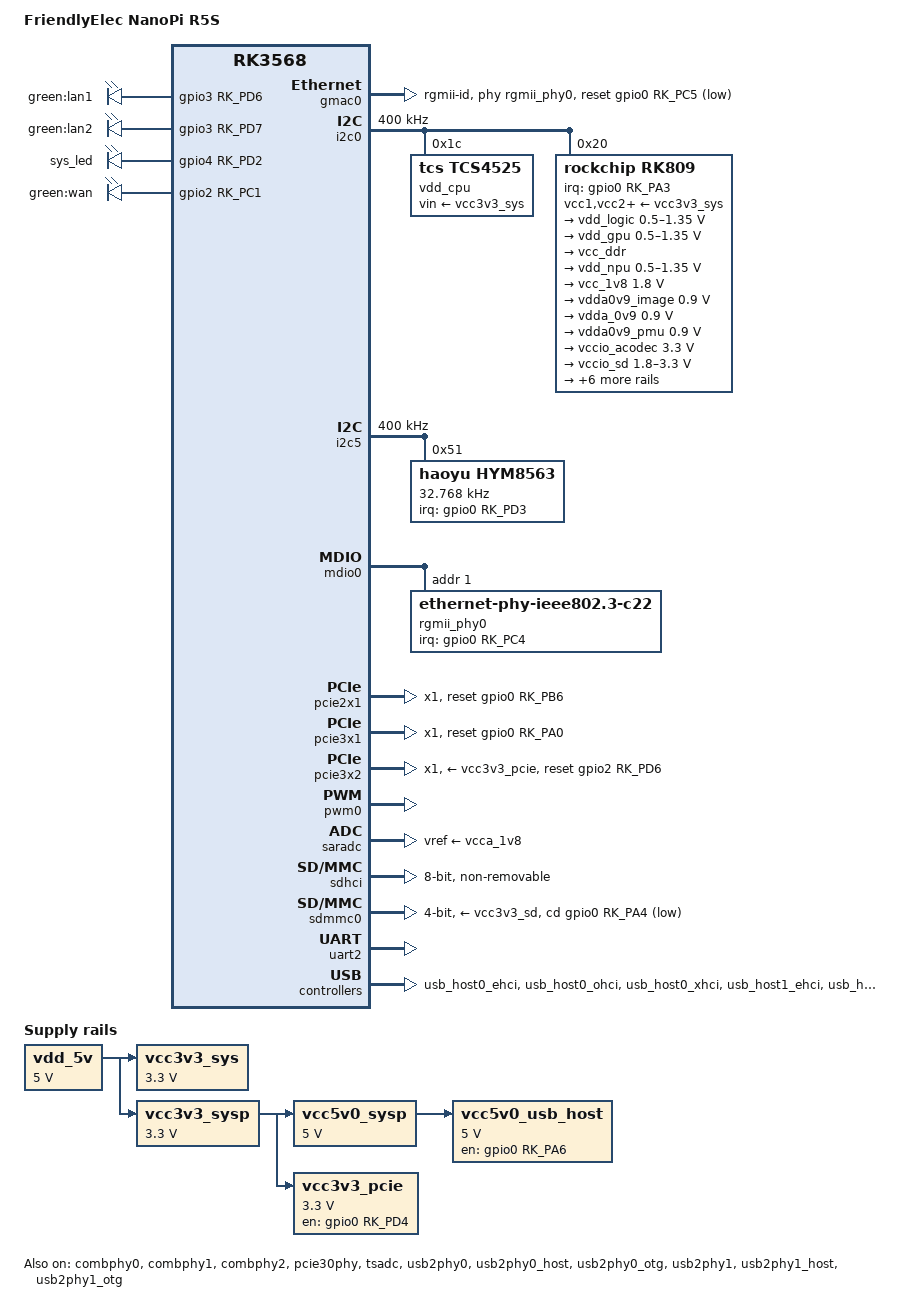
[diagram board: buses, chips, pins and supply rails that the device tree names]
// SPDX-License-Identifier: (GPL-2.0+ OR MIT)
/*
 * Copyright (c) 2021 FriendlyElec Computer Tech. Co., Ltd.
 * (http://www.friendlyarm.com)
 *
 * Copyright (c) 2022 Marty Jones <mj8263788@gmail.com>
 * Copyright (c) 2022 Tianling Shen <cnsztl@gmail.com>
 */

/dts-v1/;

#include <dt-bindings/gpio/gpio.h>
#include <dt-bindings/leds/common.h>
#include <dt-bindings/pinctrl/rockchip.h>
#include "rk3568.dtsi"

/ {
	model = "FriendlyElec NanoPi R5S";
	compatible = "friendlyarm,nanopi-r5s","rockchip,rk3568";

	aliases {
		ethernet0 = &gmac0;
		mmc0 = &sdmmc0;
		mmc1 = &sdhci;

		led-boot = &sys_led;
		led-failsafe = &sys_led;
		led-running = &sys_led;
		led-upgrade = &sys_led;
	};

	chosen: chosen {
		stdout-path = "serial2:1500000n8";
	};

	leds {
		compatible = "gpio-leds";
		pinctrl-0 = <&lan1_led_pin>, <&lan2_led_pin>,
			    <&sys_led_pin>, <&wan_led_pin>;
		pinctrl-names = "default";

		lan1_led: led-0 {
			gpios = <&gpio3 RK_PD6 GPIO_ACTIVE_HIGH>;
			label = "green:lan1";
		};

		lan2_led: led-1 {
			gpios = <&gpio3 RK_PD7 GPIO_ACTIVE_HIGH>;
			label = "green:lan2";
		};

		sys_led: led-2 {
			gpios = <&gpio4 RK_PD2 GPIO_ACTIVE_HIGH>;
			label = "sys_led";
		};

		wan_led: led-3 {
			gpios = <&gpio2 RK_PC1 GPIO_ACTIVE_HIGH>;
			label = "green:wan";
		};
	};

	vdd_5v: vdd-5v {
		compatible = "regulator-fixed";
		regulator-name = "vdd_5v";
		regulator-always-on;
		regulator-boot-on;
		regulator-min-microvolt = <5000000>;
		regulator-max-microvolt = <5000000>;
	};

	vcc3v3_sys: vcc3v3-sys {
		compatible = "regulator-fixed";
		regulator-name = "vcc3v3_sys";
		regulator-always-on;
		regulator-boot-on;
		regulator-min-microvolt = <3300000>;
		regulator-max-microvolt = <3300000>;
		vin-supply = <&vdd_5v>;
	};

	vcc3v3_sysp: vcc3v3-sysp {
		compatible = "regulator-fixed";
		regulator-name = "vcc3v3_sysp";
		regulator-always-on;
		regulator-boot-on;
		regulator-min-microvolt = <3300000>;
		regulator-max-microvolt = <3300000>;
		vin-supply = <&vdd_5v>;
	};

	vcc5v0_sysp: vcc5v0-sysp {
		compatible = "regulator-fixed";
		regulator-name = "vcc5v0_sysp";
		regulator-always-on;
		regulator-boot-on;
		regulator-min-microvolt = <5000000>;
		regulator-max-microvolt = <5000000>;
		vin-supply = <&vcc3v3_sysp>;
	};

	vcc5v0_usb_host: vcc5v0-usb-host {
		compatible = "regulator-fixed";
		enable-active-high;
		gpio = <&gpio0 RK_PA6 GPIO_ACTIVE_HIGH>;
		pinctrl-names = "default";
		pinctrl-0 = <&vcc5v0_usb_host_en>;
		regulator-name = "vcc5v0_usb_host";
		regulator-min-microvolt = <5000000>;
		regulator-max-microvolt = <5000000>;
		vin-supply = <&vcc5v0_sysp>;
	};

	vcc3v3_pcie: vcc3v3-pcie {
		compatible = "regulator-fixed";
		enable-active-high;
		gpios = <&gpio0 RK_PD4 GPIO_ACTIVE_HIGH>;
		regulator-name = "vcc3v3_pcie";
		regulator-min-microvolt = <3300000>;
		regulator-max-microvolt = <3300000>;
		startup-delay-us = <5000>;
		vin-supply = <&vcc3v3_sysp>;
	};
};

&combphy0 {
	status = "okay";
};

&combphy1 {
	status = "okay";
};

&combphy2 {
	status = "okay";
};

&cpu0 {
	cpu-supply = <&vdd_cpu>;
};

&cpu1 {
	cpu-supply = <&vdd_cpu>;
};

&cpu2 {
	cpu-supply = <&vdd_cpu>;
};

&cpu3 {
	cpu-supply = <&vdd_cpu>;
};

&gmac0 {
	clock_in_out = "output";
	assigned-clocks = <&cru SCLK_GMAC0_RX_TX>, <&cru SCLK_GMAC0>;
	assigned-clock-parents = <&cru SCLK_GMAC0_RGMII_SPEED>, <&cru CLK_MAC0_2TOP>;
	assigned-clock-rates = <0>, <125000000>;
	phy-mode = "rgmii-id";
	pinctrl-names = "default";
	pinctrl-0 = <&gmac0_miim
		     &gmac0_tx_bus2
		     &gmac0_rx_bus2
		     &gmac0_rgmii_clk
		     &gmac0_rgmii_bus>;
	snps,reset-gpio = <&gpio0 RK_PC5 GPIO_ACTIVE_LOW>;
	snps,reset-active-low;
	/* Reset time is 15ms, 50ms for rtl8211f */
	snps,reset-delays-us = <0 15000 50000>;
	tx_delay = <0x3c>;
	rx_delay = <0x2f>;
	phy-handle = <&rgmii_phy0>;
	status = "okay";
};

&i2c0 {
	i2c-scl-rising-time-ns = <160>;
	i2c-scl-falling-time-ns = <30>;
	clock-frequency = <400000>;
	status = "okay";

	vdd_cpu: regulator@1c {
		compatible = "tcs,tcs4525";
		reg = <0x1c>;
		fcs,suspend-voltage-selector = <1>;
		regulator-name = "vdd_cpu";
		regulator-always-on;
		regulator-boot-on;
		regulator-min-microvolt = <712500>;
		regulator-max-microvolt = <1390000>;
		regulator-init-microvolt = <900000>;
		regulator-ramp-delay = <2300>;
		vin-supply = <&vcc3v3_sys>;

		regulator-state-mem {
			regulator-off-in-suspend;
		};
	};

	rk809: pmic@20 {
		compatible = "rockchip,rk809";
		reg = <0x20>;
		interrupt-parent = <&gpio0>;
		interrupts = <RK_PA3 IRQ_TYPE_LEVEL_LOW>;
		#clock-cells = <1>;
		pinctrl-names = "default";
		pinctrl-0 = <&pmic_int>;
		rockchip,system-power-controller;
		wakeup-source;

		vcc1-supply = <&vcc3v3_sys>;
		vcc2-supply = <&vcc3v3_sys>;
		vcc3-supply = <&vcc3v3_sys>;
		vcc4-supply = <&vcc3v3_sys>;
		vcc5-supply = <&vcc3v3_sys>;
		vcc6-supply = <&vcc3v3_sys>;
		vcc7-supply = <&vcc3v3_sys>;
		vcc8-supply = <&vcc3v3_sys>;
		vcc9-supply = <&vcc3v3_sys>;

		regulators {
			vdd_logic: DCDC_REG1 {
				regulator-name = "vdd_logic";
				regulator-always-on;
				regulator-boot-on;
				regulator-init-microvolt = <900000>;
				regulator-initial-mode = <0x2>;
				regulator-min-microvolt = <500000>;
				regulator-max-microvolt = <1350000>;
				regulator-ramp-delay = <6001>;

				regulator-state-mem {
					regulator-off-in-suspend;
				};
			};

			vdd_gpu: DCDC_REG2 {
				regulator-name = "vdd_gpu";
				regulator-always-on;
				regulator-init-microvolt = <900000>;
				regulator-initial-mode = <0x2>;
				regulator-min-microvolt = <500000>;
				regulator-max-microvolt = <1350000>;
				regulator-ramp-delay = <6001>;

				regulator-state-mem {
					regulator-off-in-suspend;
				};
			};

			vcc_ddr: DCDC_REG3 {
				regulator-name = "vcc_ddr";
				regulator-always-on;
				regulator-boot-on;
				regulator-initial-mode = <0x2>;

				regulator-state-mem {
					regulator-on-in-suspend;
				};
			};

			vdd_npu: DCDC_REG4 {
				regulator-name = "vdd_npu";
				regulator-init-microvolt = <900000>;
				regulator-initial-mode = <0x2>;
				regulator-min-microvolt = <500000>;
				regulator-max-microvolt = <1350000>;
				regulator-ramp-delay = <6001>;

				regulator-state-mem {
					regulator-off-in-suspend;
				};
			};

			vcc_1v8: DCDC_REG5 {
				regulator-name = "vcc_1v8";
				regulator-always-on;
				regulator-boot-on;
				regulator-min-microvolt = <1800000>;
				regulator-max-microvolt = <1800000>;

				regulator-state-mem {
					regulator-off-in-suspend;
				};
			};

			vdda0v9_image: LDO_REG1 {
				regulator-name = "vdda0v9_image";
				regulator-min-microvolt = <900000>;
				regulator-max-microvolt = <900000>;

				regulator-state-mem {
					regulator-off-in-suspend;
				};
			};

			vdda_0v9: LDO_REG2 {
				regulator-name = "vdda_0v9";
				regulator-always-on;
				regulator-boot-on;
				regulator-min-microvolt = <900000>;
				regulator-max-microvolt = <900000>;

				regulator-state-mem {
					regulator-off-in-suspend;
				};
			};

			vdda0v9_pmu: LDO_REG3 {
				regulator-name = "vdda0v9_pmu";
				regulator-always-on;
				regulator-boot-on;
				regulator-min-microvolt = <900000>;
				regulator-max-microvolt = <900000>;

				regulator-state-mem {
					regulator-on-in-suspend;
					regulator-suspend-microvolt = <900000>;
				};
			};

			vccio_acodec: LDO_REG4 {
				regulator-name = "vccio_acodec";
				regulator-always-on;
				regulator-min-microvolt = <3300000>;
				regulator-max-microvolt = <3300000>;

				regulator-state-mem {
					regulator-off-in-suspend;
				};
			};

			vccio_sd: LDO_REG5 {
				regulator-name = "vccio_sd";
				regulator-min-microvolt = <1800000>;
				regulator-max-microvolt = <3300000>;

				regulator-state-mem {
					regulator-off-in-suspend;
				};
			};

			vcc3v3_pmu: LDO_REG6 {
				regulator-name = "vcc3v3_pmu";
				regulator-always-on;
				regulator-boot-on;
				regulator-min-microvolt = <3300000>;
				regulator-max-microvolt = <3300000>;

				regulator-state-mem {
					regulator-on-in-suspend;
					regulator-suspend-microvolt = <3300000>;
				};
			};

			vcca_1v8: LDO_REG7 {
				regulator-name = "vcca_1v8";
				regulator-always-on;
				regulator-boot-on;
				regulator-min-microvolt = <1800000>;
				regulator-max-microvolt = <1800000>;

				regulator-state-mem {
					regulator-off-in-suspend;
				};
			};

			vcca1v8_pmu: LDO_REG8 {
				regulator-name = "vcca1v8_pmu";
				regulator-always-on;
				regulator-boot-on;
				regulator-min-microvolt = <1800000>;
				regulator-max-microvolt = <1800000>;

				regulator-state-mem {
					regulator-on-in-suspend;
					regulator-suspend-microvolt = <1800000>;
				};
			};

			vcca1v8_image: LDO_REG9 {
				regulator-name = "vcca1v8_image";
				regulator-min-microvolt = <1800000>;
				regulator-max-microvolt = <1800000>;

				regulator-state-mem {
					regulator-off-in-suspend;
				};
			};

			vcc_3v3: SWITCH_REG1 {
				regulator-name = "vcc_3v3";
				regulator-always-on;
				regulator-boot-on;

				regulator-state-mem {
					regulator-off-in-suspend;
				};
			};

			vcc3v3_sd: SWITCH_REG2 {
				regulator-name = "vcc3v3_sd";
				regulator-always-on;
				regulator-boot-on;

				regulator-state-mem {
					regulator-off-in-suspend;
				};
			};
		};
	};
};

&i2c5 {
	i2c-scl-rising-time-ns = <160>;
	i2c-scl-falling-time-ns = <30>;
	clock-frequency = <400000>;
	status = "okay";

	hym8563: hym8563@51 {
		compatible = "haoyu,hym8563";
		reg = <0x51>;
		interrupt-parent = <&gpio0>;
		interrupts = <RK_PD3 IRQ_TYPE_LEVEL_LOW>;
		#clock-cells = <0>;
		clock-frequency = <32768>;
		clock-output-names = "xin32k";
		pinctrl-names = "default";
		pinctrl-0 = <&hym8563_int>;
	};
};

&mdio0 {
	rgmii_phy0: phy@1 {
		compatible = "ethernet-phy-ieee802.3-c22";
		reg = <0x1>;
		interrupt-parent = <&gpio0>;
		interrupts = <RK_PC4 IRQ_TYPE_LEVEL_LOW>;
		pinctrl-names = "default";
		pinctrl-0 = <&gmac_int>;
	};
};

&pcie2x1 {
	num-lanes = <1>;
	num-viewport = <4>;
	reset-gpios = <&gpio0 RK_PB6 GPIO_ACTIVE_HIGH>;
	status = "okay";

	pcie@00 {
		reg = <0x00000000 0 0 0 0>;
		#address-cells = <3>;
		#size-cells = <2>;

		r8125_1: pcie@01,0 {
			reg = <0x000000 0 0 0 0>;
		};
	};
};

&pcie30phy {
	data-lanes = <1 2>;
	status = "okay";
};

&pcie3x1 {
	num-lanes = <1>;
	num-viewport = <4>;
	rockchip,init-delay-ms = <100>;
	reset-gpios = <&gpio0 RK_PA0 GPIO_ACTIVE_HIGH>;
	status = "okay";

	pcie@10 {
		reg = <0x00100000 0 0 0 0>;
		#address-cells = <3>;
		#size-cells = <2>;

		r8125_2: pcie@10,0 {
			reg = <0x000000 0 0 0 0>;
		};
	};
};

&pcie3x2 {
	num-lanes = <1>;
	max-link-speed = <2>;
	num-ib-windows = <8>;
	num-ob-windows = <8>;
	num-viewport = <4>;
	reset-gpios = <&gpio2 RK_PD6 GPIO_ACTIVE_HIGH>;
	vpcie3v3-supply = <&vcc3v3_pcie>;
	status = "okay";
};

&pinctrl {
	leds {
		lan1_led_pin: lan1-led-pin {
			rockchip,pins = <3 RK_PD6 RK_FUNC_GPIO &pcfg_pull_none>;
		};

		lan2_led_pin: lan2-led-pin {
			rockchip,pins = <3 RK_PD7 RK_FUNC_GPIO &pcfg_pull_none>;
		};

		sys_led_pin: sys-led-pin {
			rockchip,pins = <4 RK_PD2 RK_FUNC_GPIO &pcfg_pull_none>;
		};

		wan_led_pin: wan-led-pin {
			rockchip,pins = <2 RK_PC1 RK_FUNC_GPIO &pcfg_pull_none>;
		};
	};

	eth_phy {
		gmac_int: gmac-int {
			rockchip,pins = <0 RK_PC4 RK_FUNC_GPIO &pcfg_pull_up>;
		};
	};

	hym8563 {
		hym8563_int: hym8563-int {
			rockchip,pins = <0 RK_PD3 RK_FUNC_GPIO &pcfg_pull_up>;
		};
	};

	pmic {
		pmic_int: pmic_int {
			rockchip,pins = <0 RK_PA3 RK_FUNC_GPIO &pcfg_pull_up>;
		};
	};

	usb {
		vcc5v0_usb_host_en: vcc5v0_usb_host_en {
			rockchip,pins = <0 RK_PA6 RK_FUNC_GPIO &pcfg_pull_none>;
		};
	};
};

&pmu_io_domains {
	pmuio2-supply = <&vcc3v3_pmu>;
	vccio1-supply = <&vccio_acodec>;
	vccio3-supply = <&vccio_sd>;
	vccio4-supply = <&vcc_1v8>;
	vccio5-supply = <&vcc_3v3>;
	vccio6-supply = <&vcc_1v8>;
	vccio7-supply = <&vcc_3v3>;
	status = "okay";
};

&pwm0 {
	status = "okay";
};

&saradc {
	vref-supply = <&vcca_1v8>;
	status = "okay";
};

&sdhci {
	bus-width = <8>;
	max-frequency = <200000000>;
	non-removable;
	pinctrl-names = "default";
	pinctrl-0 = <&emmc_bus8 &emmc_clk &emmc_cmd>;
	status = "okay";
};

&sdmmc0 {
	bus-width = <4>;
	cap-sd-highspeed;
	cd-gpios = <&gpio0 RK_PA4 GPIO_ACTIVE_LOW>;
	disable-wp;
	pinctrl-names = "default";
	pinctrl-0 = <&sdmmc0_bus4 &sdmmc0_clk &sdmmc0_cmd &sdmmc0_det>;
	sd-uhs-sdr104;
	vmmc-supply = <&vcc3v3_sd>;
	vqmmc-supply = <&vccio_sd>;
	status = "okay";
};

&tsadc {
	rockchip,hw-tshut-mode = <1>;
	rockchip,hw-tshut-polarity = <0>;
	status = "okay";
};

&uart2 {
	status = "okay";
};

&usb_host0_ehci {
	status = "okay";
};

&usb_host0_ohci {
	status = "okay";
};

&usb_host0_xhci {
	extcon = <&usb2phy0>;
	status = "okay";
};

&usb_host1_ehci {
	status = "okay";
};

&usb_host1_ohci {
	status = "okay";
};

&usb_host1_xhci {
	status = "okay";
};

&usb2phy0 {
	status = "okay";
};

&usb2phy0_host {
	phy-supply = <&vcc5v0_usb_host>;
	status = "okay";
};

&usb2phy0_otg {
	status = "okay";
};

&usb2phy1 {
	status = "okay";
};

&usb2phy1_host {
	status = "okay";
};

&usb2phy1_otg {
	status = "okay";
};
